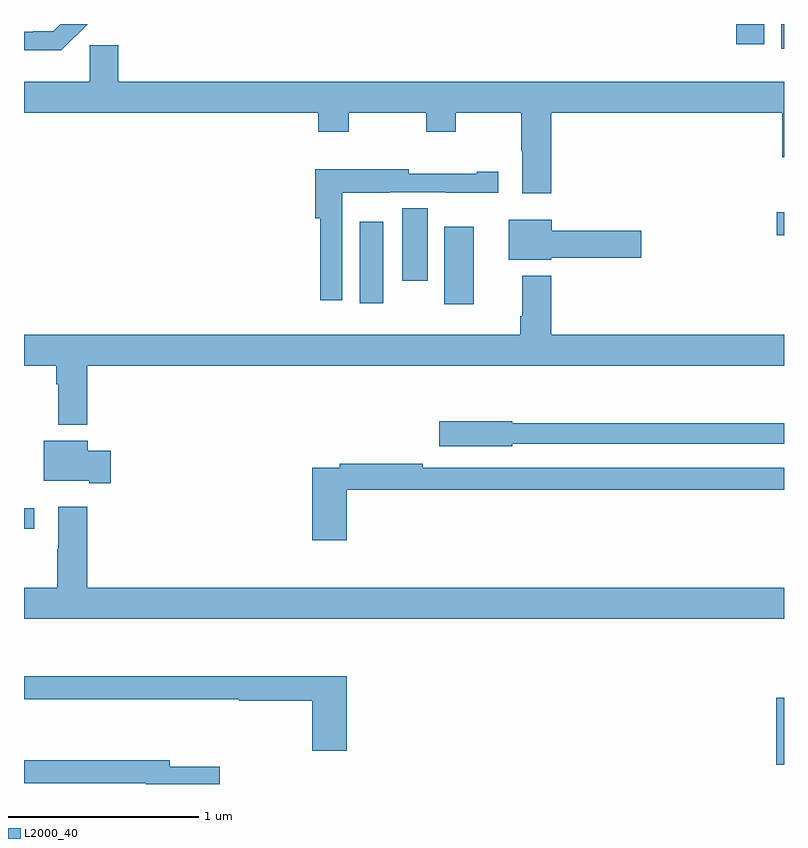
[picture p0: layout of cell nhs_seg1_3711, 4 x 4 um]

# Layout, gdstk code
import gdstk
lib = gdstk.Library(unit=1e-6, precision=1e-09)
def R(c, l, rs):  # rectangles x0, y0, x1, y1
    for r in rs: c.add(gdstk.rectangle(r[:2], r[2:], *l))
def P(c, l, *ps):  # polygons
    for p in ps: c.add(gdstk.Polygon(p, *l))
L2000_40 = (2000, 40)

nhs_seg1_3711 = lib.new_cell('nhs_seg1_3711')
R(nhs_seg1_3711, L2000_40, [(316.958,548.301,317,548.653), (313,549.543,313.054,549.651), (315.212,550.725,315.367,551.131), (314.768,550.728,314.89,551.158), (314.99,550.848,315.124,551.228), (316.962,551.087,317,551.209), (316.985,552.068,317,552.199), (316.749,552.093,316.897,552.199)])
P(nhs_seg1_3711, L2000_40, [(313.336,552.199),(313.192,552.199),(313.153,552.16),(313.049,552.16),(313.049,552.159),(313,552.159),(313,552.06),(313.196,552.06)],
  [(315.776,551.732),(316.991,551.732),(316.991,551.499),(317,551.499),(317,551.896),(313.496,551.896),(313.496,552.087),(313.345,552.087),(313.345,551.896),(313,551.896),(313,551.732),(314.549,551.732),(314.549,551.633),(314.709,551.633),(314.709,551.732),(315.118,551.732),(315.118,551.633),(315.273,551.633),(315.273,551.732),(315.616,551.732),(315.616,551.528),(315.623,551.528),(315.623,551.307),(315.776,551.307)],
  [(314.676,551.312),(314.925,551.312),(314.925,551.313),(315.22,551.313),(315.22,551.312),(315.496,551.312),(315.496,551.422),(315.383,551.422),(315.383,551.412),(315.025,551.412),(315.025,551.434),(314.534,551.434),(314.534,551.177),(314.56,551.177),(314.56,550.746),(314.676,550.746)],
  [(315.774,550.969),(316.249,550.969),(316.249,551.111),(315.778,551.111),(315.778,551.17),(315.551,551.17),(315.551,550.958),(315.774,550.958)],
  [(313.334,550.4),(317,550.4),(317,550.564),(315.776,550.564),(315.776,550.873),(315.623,550.873),(315.623,550.66),(315.611,550.66),(315.611,550.564),(313,550.564),(313,550.4),(313.169,550.4),(313.169,550.304),(313.181,550.304),(313.181,550.091),(313.334,550.091)],
  [(315.57,549.99),(317,549.99),(317,550.099),(315.57,550.099),(315.57,550.107),(315.186,550.107),(315.186,549.977),(315.57,549.977)],
  [(313.456,549.952),(313.336,549.952),(313.336,550.006),(313.103,550.006),(313.103,549.794),(313.343,549.794),(313.343,549.782),(313.456,549.782)],
  [(314.699,549.748),(317,549.748),(317,549.864),(315.098,549.864),(315.098,549.884),(314.662,549.884),(314.662,549.864),(314.516,549.864),(314.516,549.483),(314.699,549.483)],
  [(317,549.232),(313.334,549.232),(313.334,549.658),(313.181,549.658),(313.181,549.437),(313.174,549.437),(313.174,549.232),(313,549.232),(313,549.068),(317,549.068)],
  [(314.699,548.767),(313,548.767),(313,548.646),(314.132,548.646),(314.132,548.638),(314.516,548.638),(314.516,548.373),(314.699,548.373)],
  [(314.029,548.289),(313.768,548.289),(313.768,548.323),(313,548.323),(313,548.202),(313.64,548.202),(313.64,548.199),(314.029,548.199)])

lib.write_gds('nhs_seg1_3711.gds')
